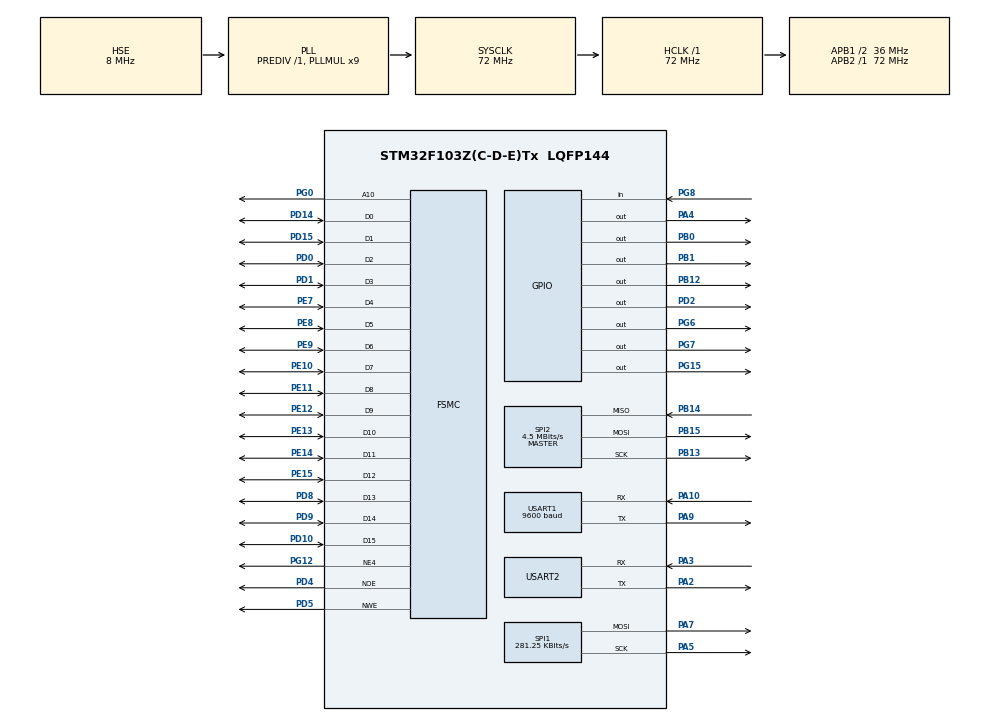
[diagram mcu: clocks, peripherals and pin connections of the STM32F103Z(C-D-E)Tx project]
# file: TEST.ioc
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FSMC.AddressSetupTime1=1
FSMC.BusTurnAroundDuration1=0
FSMC.DataSetupTime1=16
FSMC.ExtendedAddressSetupTime1=0
FSMC.ExtendedBusTurnAroundDuration1=0
FSMC.ExtendedDataSetupTime1=1
FSMC.ExtendedMode1=FSMC_EXTENDED_MODE_ENABLE
Mcu.Family=STM32F1
Mcu.Name=STM32F103Z(C-D-E)Tx
Mcu.Package=LQFP144
NVIC.PriorityGroup=NVIC_PRIORITYGROUP_4
NVIC.USART1_IRQn=true\:0\:0\:false\:false\:true\:true\:true
NVIC.USART2_IRQn=true\:0\:0\:false\:false\:true\:true\:true
OSC_IN.Mode=HSE-External-Oscillator
OSC_IN.Signal=RCC_OSC_IN
OSC_OUT.Mode=HSE-External-Oscillator
OSC_OUT.Signal=RCC_OSC_OUT
PA10.Mode=Asynchronous
PA10.Signal=USART1_RX
PA13.Mode=JTAG_4_pins
PA13.Signal=SYS_JTMS-SWDIO
PA14.Mode=JTAG_4_pins
PA14.Signal=SYS_JTCK-SWCLK
PA15.Mode=JTAG_4_pins
PA15.Signal=SYS_JTDI
PA2.Mode=Asynchronous
PA2.Signal=USART2_TX
PA3.Mode=Asynchronous
PA3.Signal=USART2_RX
PA4.Signal=GPIO_Output
PA5.GPIO_Speed=GPIO_SPEED_FREQ_HIGH
PA5.Mode=TX_Only_Simplex_Unidirect_Master
PA5.Signal=SPI1_SCK
PA7.GPIO_Speed=GPIO_SPEED_FREQ_HIGH
PA7.Mode=TX_Only_Simplex_Unidirect_Master
PA7.Signal=SPI1_MOSI
PA9.Mode=Asynchronous
PA9.Signal=USART1_TX
PB0.Signal=GPIO_Output
PB1.Signal=GPIO_Output
PB12.GPIO_ModeDefaultOutputPP=GPIO_MODE_OUTPUT_PP
PB12.GPIO_PuPd=GPIO_PULLUP
PB12.PinState=GPIO_PIN_SET
PB12.Signal=GPIO_Output
PB13.Mode=Full_Duplex_Master
PB13.Signal=SPI2_SCK
PB14.Mode=Full_Duplex_Master
PB14.Signal=SPI2_MISO
PB15.Mode=Full_Duplex_Master
PB15.Signal=SPI2_MOSI
PB3.Mode=JTAG_4_pins
PB3.Signal=SYS_JTDO-TRACESWO
PD0.GPIO_Speed_High_Default=GPIO_SPEED_FREQ_HIGH
PD0.Signal=FSMC_D2_DA2
PD1.GPIO_Speed_High_Default=GPIO_SPEED_FREQ_HIGH
PD1.Signal=FSMC_D3_DA3
PD10.GPIO_Speed_High_Default=GPIO_SPEED_FREQ_HIGH
PD10.Signal=FSMC_D15_DA15
PD14.GPIO_Speed_High_Default=GPIO_SPEED_FREQ_HIGH
PD14.Signal=FSMC_D0_DA0
PD15.GPIO_Speed_High_Default=GPIO_SPEED_FREQ_HIGH
PD15.Signal=FSMC_D1_DA1
PD2.GPIO_ModeDefaultOutputPP=GPIO_MODE_OUTPUT_PP
PD2.GPIO_PuPd=GPIO_PULLUP
PD2.PinState=GPIO_PIN_SET
PD2.Signal=GPIO_Output
PD4.GPIO_Speed_High_Default=GPIO_SPEED_FREQ_HIGH
PD4.Signal=FSMC_NOE
PD5.GPIO_Speed_High_Default=GPIO_SPEED_FREQ_HIGH
PD5.Signal=FSMC_NWE
PD8.GPIO_Speed_High_Default=GPIO_SPEED_FREQ_HIGH
PD8.Signal=FSMC_D13_DA13
PD9.GPIO_Speed_High_Default=GPIO_SPEED_FREQ_HIGH
PD9.Signal=FSMC_D14_DA14
PE10.GPIO_Speed_High_Default=GPIO_SPEED_FREQ_HIGH
PE10.Signal=FSMC_D7_DA7
PE11.GPIO_Speed_High_Default=GPIO_SPEED_FREQ_HIGH
PE11.Signal=FSMC_D8_DA8
PE12.GPIO_Speed_High_Default=GPIO_SPEED_FREQ_HIGH
PE12.Signal=FSMC_D9_DA9
PE13.GPIO_Speed_High_Default=GPIO_SPEED_FREQ_HIGH
PE13.Signal=FSMC_D10_DA10
PE14.GPIO_Speed_High_Default=GPIO_SPEED_FREQ_HIGH
PE14.Signal=FSMC_D11_DA11
PE15.GPIO_Speed_High_Default=GPIO_SPEED_FREQ_HIGH
PE15.Signal=FSMC_D12_DA12
PE7.GPIO_Speed_High_Default=GPIO_SPEED_FREQ_HIGH
PE7.Signal=FSMC_D4_DA4
PE8.GPIO_Speed_High_Default=GPIO_SPEED_FREQ_HIGH
PE8.Signal=FSMC_D5_DA5
PE9.GPIO_Speed_High_Default=GPIO_SPEED_FREQ_HIGH
PE9.Signal=FSMC_D6_DA6
PG0.GPIO_Speed_High_Default=GPIO_SPEED_FREQ_HIGH
PG0.Signal=FSMC_A10
PG12.GPIO_Speed_High_Default=GPIO_SPEED_FREQ_HIGH
PG12.Mode=NorPsramChipSelect4_1
PG12.Signal=FSMC_NE4
PG15.Signal=GPIO_Output
PG6.GPIO_ModeDefaultOutputPP=GPIO_MODE_OUTPUT_PP
PG6.GPIO_PuPd=GPIO_NOPULL
PG6.GPIO_Speed=GPIO_SPEED_FREQ_HIGH
PG6.PinState=GPIO_PIN_SET
PG6.Signal=GPIO_Output
PG7.GPIO_ModeDefaultOutputPP=GPIO_MODE_OUTPUT_PP
PG7.GPIO_PuPd=GPIO_NOPULL
PG7.GPIO_Speed=GPIO_SPEED_FREQ_HIGH
PG7.PinState=GPIO_PIN_SET
PG7.Signal=GPIO_Output
PG8.GPIO_PuPd=GPIO_PULLDOWN
PG8.Signal=GPIO_Input
ProjectManager.HeapSize=0x200
ProjectManager.StackSize=0x400
ProjectManager.TargetToolchain=MDK-ARM V5.27
RCC.AHBFreq_Value=72000000
RCC.APB1CLKDivider=RCC_HCLK_DIV2
RCC.APB1Freq_Value=36000000
RCC.APB1TimFreq_Value=72000000
RCC.APB2Freq_Value=72000000
RCC.APB2TimFreq_Value=72000000
RCC.HCLKFreq_Value=72000000
RCC.PLLMUL=RCC_PLL_MUL9
RCC.PLLSourceVirtual=RCC_PLLSOURCE_HSE
RCC.SYSCLKFreq_VALUE=72000000
RCC.SYSCLKSource=RCC_SYSCLKSOURCE_PLLCLK
RCC.USBFreq_Value=72000000
SH.FSMC_A10.0=FSMC_A10,A10_1
SH.FSMC_D0_DA0.0=FSMC_D0,16b-d1
SH.FSMC_D10_DA10.0=FSMC_D10,16b-d1
SH.FSMC_D11_DA11.0=FSMC_D11,16b-d1
SH.FSMC_D12_DA12.0=FSMC_D12,16b-d1
SH.FSMC_D13_DA13.0=FSMC_D13,16b-d1
SH.FSMC_D14_DA14.0=FSMC_D14,16b-d1
SH.FSMC_D15_DA15.0=FSMC_D15,16b-d1
SH.FSMC_D1_DA1.0=FSMC_D1,16b-d1
SH.FSMC_D2_DA2.0=FSMC_D2,16b-d1
SH.FSMC_D3_DA3.0=FSMC_D3,16b-d1
SH.FSMC_D4_DA4.0=FSMC_D4,16b-d1
SH.FSMC_D5_DA5.0=FSMC_D5,16b-d1
SH.FSMC_D6_DA6.0=FSMC_D6,16b-d1
SH.FSMC_D7_DA7.0=FSMC_D7,16b-d1
SH.FSMC_D8_DA8.0=FSMC_D8,16b-d1
SH.FSMC_D9_DA9.0=FSMC_D9,16b-d1
SH.FSMC_NOE.0=FSMC_NOE,Lcd1
SH.FSMC_NWE.0=FSMC_NWE,Lcd1
SPI1.BaudRatePrescaler=SPI_BAUDRATEPRESCALER_256
SPI1.CalculateBaudRate=281.25 KBits/s
SPI1.Direction=SPI_DIRECTION_2LINES
SPI1.Mode=SPI_MODE_MASTER
SPI1.VirtualType=VM_MASTER
SPI2.BaudRatePrescaler=SPI_BAUDRATEPRESCALER_8
SPI2.CalculateBaudRate=4.5 MBits/s
SPI2.Direction=SPI_DIRECTION_2LINES
SPI2.Mode=SPI_MODE_MASTER
SPI2.VirtualType=VM_MASTER
USART1.BaudRate=9600
USART1.VirtualMode=VM_ASYNC
USART2.VirtualMode=VM_ASYNC
board=custom

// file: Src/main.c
/* USER CODE BEGIN Header */
/**
  ******************************************************************************
  * @file           : main.c
  * @brief          : Main program body
  ******************************************************************************
  * @attention
  *
  * <h2><center>&copy; Copyright (c) 2020 STMicroelectronics.
  * All rights reserved.</center></h2>
  *
  * This software component is licensed by ST under BSD 3-Clause license,
  * the "License"; You may not use this file except in compliance with the
  * License. You may obtain a copy of the License at:
  *                        opensource.org/licenses/BSD-3-Clause
  *
  ******************************************************************************
  */
/* USER CODE END Header */

#include "main.h"
#include "spi.h"
#include "usart.h"
#include "gpio.h"
#include "fsmc.h"

/* USER CODE BEGIN Includes */
#include "lcd.h"
#include "stdio.h"
#include "string.h"
#include "oled.h"
#include "bmp.h"
#include "24l01.h"
/* USER CODE END Includes */

/* USER CODE BEGIN PTD */
#define LEN_MAX 200
 uint8_t RX_buff;
 uint8_t RX_DATA_buff[200];
 uint8_t RX_cnt;
/* USER CODE END PTD */

void SystemClock_Config(void);

int main(void)
{

  /* MCU Configuration--------------------------------------------------------*/

  /* Reset of all peripherals, Initializes the Flash interface and the Systick. */
  HAL_Init();

  /* Configure the system clock */
  SystemClock_Config();

  /* Initialize all configured peripherals */
  MX_GPIO_Init();
  MX_USART1_UART_Init();
  MX_FSMC_Init();
  MX_USART2_UART_Init();
  MX_SPI1_Init();
  MX_SPI2_Init();
  /* USER CODE BEGIN 2 */
	OLED_Init();
  NRF24L01_Init();
	while(NRF24L01_Check()==1)
  {
      LCD_ShowString(60,40,200,200,16,(unsigned char *)"NRF24L01_ERROR");
  }

	NRF24L01_TX_Mode();
  OLED_ShowPicture(0,0,128,8,BMP1);
	HAL_UART_Receive_IT(&huart1,RX_DATA_buff, 1);
  LCD_Init();
	LCD_ShowString(0,0,60,16,16,(unsigned char *)("lcd_ok"));
  /* USER CODE END 2 */

  /* Infinite loop */
  /* USER CODE BEGIN WHILE */
  while (1)
  {
		if(NRF24L01_TxPacket((unsigned char *)"fuck you ")==TX_OK)
			LCD_ShowString(50,80,100,30,16,(unsigned char *)"SEND_OK");
			else
			LCD_ShowString(50,110,100,30,16,(unsigned char *)"SEND_ERROR");
		HAL_Delay(1000);

    /* USER CODE END WHILE */

  }
}

void SystemClock_Config(void)
{
  RCC_OscInitTypeDef RCC_OscInitStruct = {0};
  RCC_ClkInitTypeDef RCC_ClkInitStruct = {0};

  /** Initializes the CPU, AHB and APB busses clocks
  */
  RCC_OscInitStruct.OscillatorType = RCC_OSCILLATORTYPE_HSE;
  RCC_OscInitStruct.HSEState = RCC_HSE_ON;
  RCC_OscInitStruct.HSEPredivValue = RCC_HSE_PREDIV_DIV1;
  RCC_OscInitStruct.HSIState = RCC_HSI_ON;
  RCC_OscInitStruct.PLL.PLLState = RCC_PLL_ON;
  RCC_OscInitStruct.PLL.PLLSource = RCC_PLLSOURCE_HSE;
  RCC_OscInitStruct.PLL.PLLMUL = RCC_PLL_MUL9;
  if (HAL_RCC_OscConfig(&RCC_OscInitStruct) != HAL_OK)
  {
    Error_Handler();
  }
  /** Initializes the CPU, AHB and APB busses clocks
  */
  RCC_ClkInitStruct.ClockType = RCC_CLOCKTYPE_HCLK|RCC_CLOCKTYPE_SYSCLK
                              |RCC_CLOCKTYPE_PCLK1|RCC_CLOCKTYPE_PCLK2;
  RCC_ClkInitStruct.SYSCLKSource = RCC_SYSCLKSOURCE_PLLCLK;
  RCC_ClkInitStruct.AHBCLKDivider = RCC_SYSCLK_DIV1;
  RCC_ClkInitStruct.APB1CLKDivider = RCC_HCLK_DIV2;
  RCC_ClkInitStruct.APB2CLKDivider = RCC_HCLK_DIV1;

  if (HAL_RCC_ClockConfig(&RCC_ClkInitStruct, FLASH_LATENCY_2) != HAL_OK)
  {
    Error_Handler();
  }
}

/* USER CODE BEGIN 4 */
void HAL_UART_RxCpltCallback(UART_HandleTypeDef *huart)
{
    if(huart->Instance==USART1)
    {

        if(RX_cnt++>=LEN_MAX)
        {
            memset(RX_DATA_buff,0x00,sizeof(RX_DATA_buff));
            RX_cnt=0;
        }
        else
        {
            RX_DATA_buff[RX_cnt]=RX_buff;
            HAL_UART_Transmit(&huart1, &RX_buff, 1, 1);
            RX_cnt++;
        }
    HAL_UART_Receive_IT(&huart1, &RX_buff, 1);
    }
}
/* USER CODE END 4 */

void Error_Handler(void)
{
}

/************************ (C) COPYRIGHT STMicroelectronics *****END OF FILE****/
